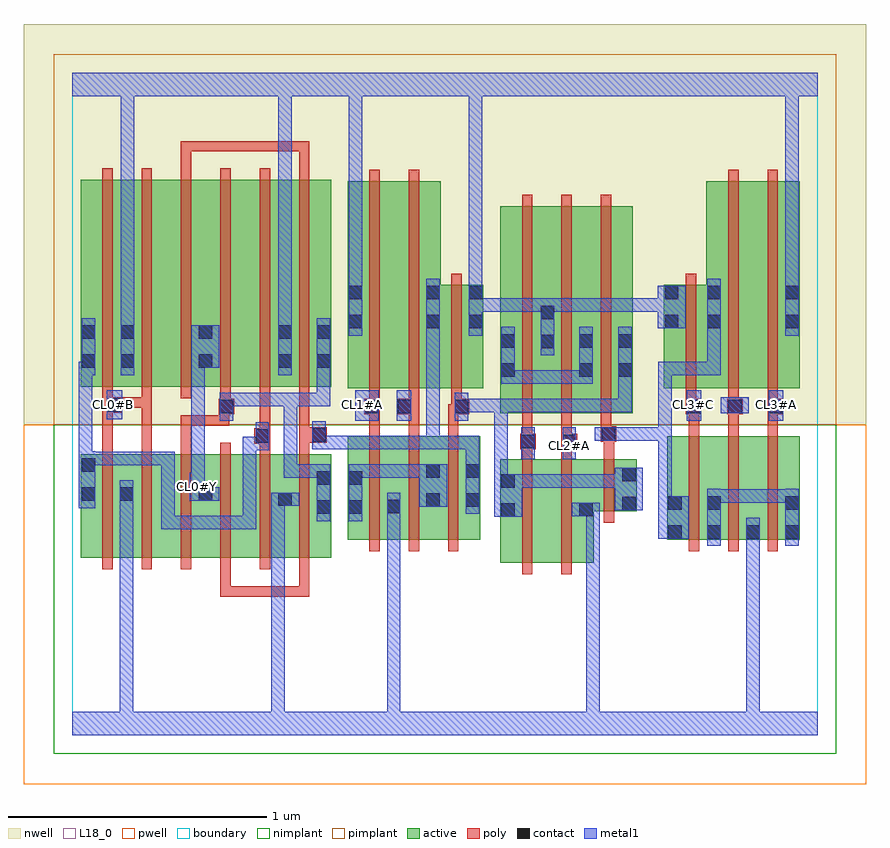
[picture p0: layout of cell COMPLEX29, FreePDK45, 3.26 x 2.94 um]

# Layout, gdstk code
import gdstk
lib = gdstk.Library(unit=1e-6, precision=1e-09)
def R(c, l, rs):  # rectangles x0, y0, x1, y1
    for r in rs: c.add(gdstk.rectangle(r[:2], r[2:], *l))
def A(c, l, x, y, w, h, nx, ny, dx, dy):  # array of equal rectangles
    R(c, l, [(x+i*dx, y+j*dy, x+i*dx+w, y+j*dy+h) for i in range(nx) for j in range(ny)])
active = (1, 0)
pwell = (2, 0)
nwell = (3, 0)
nimplant = (4, 0)
pimplant = (5, 0)
poly = (9, 0)
contact = (10, 0)
metal1 = (11, 0)
L18_0 = (18, 0)
boundary = (235, 0)

complex29 = lib.new_cell('COMPLEX29')
A(complex29, active, 1.212, 0.756, 0.06, 0.4, 3, 1, 0.152, 0)
A(complex29, active, 2.45, 0.756, 0.06, 0.4, 3, 1, 0.15, 0)
R(complex29, active, [(1.654,0.666,1.834,1.066), (1.834,0.666,2.014,1.066), (0.032,0.686,0.092,1.086), (0.032,0.686,0.24,1.086), (0.18,0.686,0.24,1.086), (0.18,0.686,0.364,1.086), (0.364,0.686,0.544,1.086), (0.484,0.686,0.544,1.086), (0.484,0.686,0.668,1.086), (0.668,0.686,0.852,1.086), (0.792,0.686,1,1.086), (0.792,0.686,0.852,0.942), (0.94,0.686,1,1.086), (1.064,0.756,1.124,1.156), (1.064,0.756,1.272,1.156), (1.212,0.756,1.424,1.156), (1.364,0.756,1.576,1.156), (1.654,0.756,1.714,1.066), (2.298,0.756,2.358,1.156), (2.298,0.756,2.51,1.156), (2.45,0.756,2.66,1.156), (2.6,0.756,2.81,1.156), (1.954,0.842,2.014,0.902), (1.954,0.866,2.18,1.066), (2.12,0.866,2.18,1.066), (1.654,1.244,1.714,2.044), (1.654,1.244,1.866,2.044), (1.806,1.244,1.866,2.044), (1.806,1.244,2.014,2.044), (1.954,1.244,2.014,2.044), (1.954,1.244,2.166,2.044), (2.106,1.244,2.166,2.044), (1.064,1.34,1.124,2.044), (1.064,1.34,1.244,2.14), (1.244,1.34,1.424,2.14), (1.364,1.34,1.588,1.74), (1.528,1.34,1.588,1.74), (2.286,1.34,2.346,1.74), (2.286,1.34,2.51,1.74), (2.45,1.34,2.63,2.14), (2.63,1.34,2.81,2.14), (2.75,1.34,2.81,2.044), (0.032,1.346,0.244,2.146), (0.032,1.346,0.092,2.044), (0.184,1.346,0.364,2.146), (0.184,1.346,0.244,2.044), (0.364,1.346,0.544,2.146), (0.484,1.346,0.544,2.044), (0.484,1.346,0.668,2.146), (0.668,1.346,0.852,2.146), (0.792,1.346,1,2.146), (0.792,1.346,0.852,2.044), (0.94,1.346,1,2.044), (2.45,1.416,2.51,2.14), (1.364,1.568,1.424,1.74)])
R(complex29, pwell, [(-0.188,-0.188,3.068,1.2)])
R(complex29, nwell, [(-0.188,1.2,3.068,2.748)])
R(complex29, nimplant, [(-0.072,-0.072,2.952,1.2)])
R(complex29, pimplant, [(-0.072,1.2,2.952,2.632)])
A(complex29, poly, 0.116, 0.642, 0.04, 0.488, 6, 1, 0.152, 0)
A(complex29, poly, 1.148, 0.712, 0.04, 0.488, 3, 1, 0.152, 0)
A(complex29, poly, 2.382, 0.712, 0.04, 0.488, 3, 1, 0.152, 0)
A(complex29, poly, 1.148, 1.16, 0.04, 0.12, 3, 1, 0.152, 0)
A(complex29, poly, 2.382, 1.16, 0.04, 0.12, 3, 1, 0.152, 0)
A(complex29, poly, 1.738, 1.2, 0.04, 0.888, 3, 1, 0.152, 0)
A(complex29, poly, 0.116, 1.302, 0.04, 0.888, 6, 1, 0.152, 0)
R(complex29, poly, [(0.572,0.536,0.612,0.576), (0.572,0.536,0.612,0.682), (0.572,0.536,0.81,0.576), (0.77,0.536,0.81,0.576), (0.77,0.536,0.81,0.576), (0.77,0.536,0.81,0.576), (0.77,0.536,0.916,0.576), (0.876,0.536,0.916,0.576), (0.876,0.536,0.916,0.576), (0.876,0.536,0.916,0.576), (0.876,0.536,0.916,0.682), (1.738,0.622,1.778,1.11), (1.89,0.622,1.93,1.11), (2.054,0.822,2.094,1.11), (1.738,1.07,1.778,1.146), (1.89,1.07,1.93,1.146), (2.054,1.07,2.094,1.174), (0.116,1.09,0.156,1.286), (0.268,1.09,0.308,1.306), (0.42,1.09,0.46,1.236), (0.724,1.09,0.764,1.166), (0.876,1.09,0.916,1.17), (1.73,1.106,1.79,1.166), (1.89,1.106,1.95,1.166), (0.704,1.126,0.764,1.186), (1.738,1.126,1.778,1.166), (1.738,1.126,1.778,1.166), (1.738,1.126,1.778,1.24), (1.89,1.126,1.93,1.166), (1.89,1.126,1.93,1.166), (1.89,1.126,1.93,1.24), (0.876,1.13,0.984,1.19), (2.042,1.134,2.102,1.194), (0.724,1.146,0.764,1.186), (0.724,1.146,0.764,1.186), (0.724,1.146,0.764,1.342), (0.876,1.15,0.916,1.19), (0.876,1.15,0.916,1.19), (0.876,1.15,0.916,1.342), (2.042,1.154,2.082,1.194), (2.042,1.154,2.082,1.194), (2.042,1.154,2.082,1.24), (0.42,1.196,0.46,1.236), (0.42,1.196,0.606,1.236), (0.566,1.196,0.606,1.236), (0.566,1.196,0.606,1.236), (0.566,1.196,0.606,1.236), (0.566,1.196,0.606,1.28), (0.566,1.24,0.626,1.3), (1.128,1.24,1.188,1.3), (1.148,1.24,1.188,1.28), (1.148,1.24,1.188,1.28), (1.254,1.24,1.34,1.3), (1.3,1.24,1.34,1.28), (1.3,1.24,1.34,1.28), (1.452,1.24,1.504,1.28), (1.464,1.24,1.504,1.28), (1.464,1.24,1.534,1.3), (2.37,1.24,2.43,1.3), (2.53,1.24,2.59,1.3), (2.686,1.24,2.726,1.28), (2.686,1.24,2.726,1.28), (2.686,1.24,2.746,1.3), (0.116,1.246,0.19,1.306), (0.572,1.26,0.612,1.342), (1.148,1.26,1.188,1.336), (1.3,1.26,1.34,1.336), (1.464,1.26,1.504,1.336), (2.37,1.26,2.41,1.336), (2.37,1.26,2.41,1.3), (2.37,1.26,2.41,1.3), (2.534,1.26,2.574,1.336), (2.534,1.26,2.574,1.3), (2.534,1.26,2.574,1.3), (2.686,1.26,2.726,1.336), (0.116,1.266,0.156,1.342), (0.116,1.266,0.156,1.306), (0.116,1.266,0.156,1.306), (0.116,1.266,0.308,1.306), (0.268,1.266,0.308,1.342), (0.268,1.266,0.308,1.306), (0.268,1.266,0.308,1.306), (0.268,1.266,0.308,1.306), (0.268,1.266,0.308,1.306), (0.268,1.266,0.308,1.306), (1.148,1.296,1.188,2.184), (1.3,1.296,1.34,2.184), (1.464,1.296,1.504,1.784), (2.37,1.296,2.41,1.784), (2.534,1.296,2.574,2.184), (2.686,1.296,2.726,2.184), (0.42,2.15,0.46,2.296), (0.876,2.15,0.916,2.296), (0.42,2.256,0.46,2.296), (0.42,2.256,0.46,2.296), (0.42,2.256,0.46,2.296), (0.42,2.256,0.566,2.296), (0.526,2.256,0.566,2.296), (0.526,2.256,0.718,2.296), (0.678,2.256,0.718,2.296), (0.678,2.256,0.718,2.296), (0.678,2.256,0.718,2.296), (0.678,2.256,0.916,2.296), (0.876,2.256,0.916,2.296), (0.876,2.256,0.916,2.296), (0.876,2.256,0.916,2.296)])
A(complex29, contact, 2.454, 0.76, 0.052, 0.052, 3, 1, 0.15, 0)
R(complex29, contact, [(2.302,0.76,2.354,0.812), (1.658,0.844,1.71,0.896), (1.958,0.846,2.01,0.898), (0.944,0.856,0.996,0.908), (1.068,0.856,1.12,0.908), (1.216,0.858,1.268,0.91), (2.124,0.87,2.176,0.922), (2.302,0.872,2.354,0.924), (2.454,0.872,2.506,0.924), (2.754,0.872,2.806,0.924), (1.368,0.884,1.42,0.936), (1.52,0.884,1.572,0.936), (0.796,0.886,0.848,0.938), (0.036,0.906,0.088,0.958), (0.184,0.906,0.236,0.958), (0.488,0.906,0.54,0.958), (1.658,0.956,1.71,1.008), (0.944,0.968,0.996,1.02), (1.068,0.968,1.12,1.02), (2.124,0.982,2.176,1.034), (1.368,0.996,1.42,1.048), (1.52,0.996,1.572,1.048), (0.036,1.018,0.088,1.07), (1.734,1.11,1.786,1.162), (1.894,1.11,1.946,1.162), (0.708,1.13,0.76,1.182), (0.928,1.134,0.98,1.186), (2.046,1.138,2.098,1.19), (0.57,1.244,0.622,1.296), (1.132,1.244,1.184,1.296), (1.258,1.244,1.31,1.296), (1.478,1.244,1.53,1.296), (2.374,1.244,2.426,1.296), (2.534,1.244,2.586,1.296), (2.69,1.244,2.742,1.296), (0.134,1.25,0.186,1.302), (1.658,1.386,1.71,1.438), (1.958,1.386,2.01,1.438), (2.11,1.386,2.162,1.438), (0.036,1.42,0.088,1.472), (0.188,1.42,0.24,1.472), (0.488,1.42,0.54,1.472), (0.796,1.42,0.848,1.472), (0.944,1.42,0.996,1.472), (1.81,1.496,1.862,1.548), (1.658,1.498,1.71,1.55), (1.958,1.498,2.01,1.55), (2.11,1.498,2.162,1.55), (0.036,1.532,0.088,1.584), (0.188,1.532,0.24,1.584), (0.488,1.532,0.54,1.584), (0.796,1.532,0.848,1.584), (0.944,1.532,0.996,1.584), (1.068,1.572,1.12,1.624), (1.368,1.572,1.42,1.624), (1.532,1.572,1.584,1.624), (2.29,1.572,2.342,1.624), (2.454,1.572,2.506,1.624), (2.754,1.572,2.806,1.624), (1.81,1.608,1.862,1.66), (1.068,1.684,1.12,1.736), (1.368,1.684,1.42,1.736), (1.532,1.684,1.584,1.736), (2.29,1.684,2.342,1.736), (2.454,1.684,2.506,1.736), (2.754,1.684,2.806,1.736)])
R(complex29, metal1, [(0,0,2.88,0.092), (0.184,0.04,0.236,0.092), (0.184,0.04,0.236,0.092), (0.184,0.04,0.236,0.092), (0.184,0.04,0.236,0.092), (0.184,0.04,0.236,0.092), (0.184,0.04,0.236,0.092), (0.184,0.04,0.236,0.092), (0.184,0.04,0.236,0.092), (0.184,0.04,0.236,0.092), (0.184,0.04,0.236,0.092), (0.184,0.04,0.236,0.93), (0.768,0.04,0.82,0.092), (0.768,0.04,0.82,0.092), (0.768,0.04,0.82,0.092), (0.768,0.04,0.82,0.092), (0.768,0.04,0.82,0.092), (0.768,0.04,0.82,0.092), (0.768,0.04,0.82,0.092), (0.768,0.04,0.82,0.092), (0.768,0.04,0.82,0.938), (1.216,0.04,1.268,0.092), (1.216,0.04,1.268,0.092), (1.216,0.04,1.268,0.092), (1.216,0.04,1.268,0.092), (1.216,0.04,1.268,0.092), (1.216,0.04,1.268,0.092), (1.216,0.04,1.268,0.092), (1.216,0.04,1.268,0.092), (1.216,0.04,1.268,0.092), (1.216,0.04,1.268,0.092), (1.216,0.04,1.268,0.092), (1.216,0.04,1.268,0.092), (1.216,0.04,1.268,0.882), (1.986,0.04,2.038,0.092), (1.986,0.04,2.038,0.092), (1.986,0.04,2.038,0.092), (1.986,0.04,2.038,0.092), (1.986,0.04,2.038,0.092), (1.986,0.04,2.038,0.092), (1.986,0.04,2.038,0.092), (1.986,0.04,2.038,0.092), (1.986,0.04,2.038,0.092), (1.986,0.04,2.038,0.092), (1.986,0.04,2.038,0.898), (2.604,0.04,2.656,0.092), (2.604,0.04,2.656,0.092), (2.604,0.04,2.656,0.092), (2.604,0.04,2.656,0.092), (2.604,0.04,2.656,0.092), (2.604,0.04,2.656,0.092), (2.604,0.04,2.656,0.092), (2.604,0.04,2.656,0.092), (2.604,0.04,2.656,0.092), (2.604,0.04,2.656,0.092), (2.604,0.04,2.656,0.784), (2.454,0.732,2.506,0.952), (2.604,0.732,2.656,0.784), (2.604,0.732,2.656,0.784), (2.604,0.732,2.656,0.84), (2.754,0.732,2.806,0.952), (2.264,0.76,2.316,0.812), (2.264,0.76,2.316,0.812), (2.264,0.76,2.316,0.812), (2.264,0.76,2.316,0.812), (2.264,0.76,2.382,0.924), (0.344,0.796,0.396,0.848), (0.344,0.796,0.512,0.848), (0.344,0.796,0.396,1.096), (0.46,0.796,0.512,0.848), (0.46,0.796,0.512,0.848), (0.46,0.796,0.512,0.848), (0.46,0.796,0.622,0.848), (0.57,0.796,0.622,0.848), (0.57,0.796,0.71,0.848), (0.658,0.796,0.71,0.848), (0.658,0.796,0.71,1.154), (0.944,0.828,0.996,1.048), (1.068,0.828,1.12,1.048), (1.216,0.83,1.268,0.938), (1.63,0.844,1.738,1.008), (1.93,0.846,2.038,0.898), (1.986,0.846,2.038,0.898), (1.986,0.846,2.038,0.898), (1.52,0.856,1.572,1.076), (2.096,0.87,2.204,1.034), (2.264,0.872,2.316,1.19), (0.026,0.878,0.088,1.098), (0.184,0.878,0.236,0.93), (0.184,0.878,0.236,0.93), (0.184,0.878,0.236,0.986), (1.34,0.884,1.448,1.048), (0.768,0.886,0.82,0.938), (0.768,0.886,0.82,0.938), (0.768,0.886,0.82,0.938), (0.768,0.886,0.82,0.938), (0.768,0.886,0.876,0.938), (2.454,0.898,2.632,0.95), (2.58,0.898,2.632,0.95), (2.58,0.898,2.632,0.95), (2.58,0.898,2.632,0.95), (2.58,0.898,2.806,0.95), (2.754,0.898,2.806,0.95), (2.754,0.898,2.806,0.95), (0.454,0.906,0.512,1.014), (0.46,0.906,0.512,0.958), (0.46,0.906,0.568,0.958), (1.63,0.956,1.682,1.3), (1.686,0.956,1.738,1.008), (1.686,0.956,1.738,1.008), (1.686,0.956,1.866,1.008), (1.814,0.956,1.866,1.008), (1.814,0.956,1.866,1.008), (1.814,0.956,1.866,1.008), (1.814,0.956,1.976,1.008), (1.924,0.956,1.976,1.008), (1.924,0.956,2.148,1.008), (2.096,0.956,2.148,1.008), (2.096,0.956,2.148,1.008), (0.46,0.962,0.512,1.472), (0.818,0.996,0.87,1.048), (0.818,0.996,0.87,1.048), (0.818,0.996,0.87,1.048), (0.818,0.996,0.996,1.048), (0.818,0.996,0.87,1.324), (1.068,0.996,1.12,1.048), (1.068,0.996,1.12,1.048), (1.068,0.996,1.23,1.048), (1.178,0.996,1.23,1.048), (1.178,0.996,1.23,1.048), (1.178,0.996,1.23,1.048), (1.178,0.996,1.392,1.048), (1.52,1.024,1.572,1.158), (0.036,1.044,0.088,1.096), (0.036,1.044,0.088,1.096), (0.036,1.044,0.286,1.096), (0.234,1.044,0.286,1.096), (0.234,1.044,0.286,1.096), (0.234,1.044,0.286,1.096), (0.234,1.044,0.396,1.096), (0.344,1.044,0.396,1.096), (0.026,1.046,0.078,1.444), (1.734,1.066,1.786,1.19), (1.894,1.066,1.946,1.19), (0.658,1.102,0.71,1.154), (0.658,1.102,0.71,1.154), (0.658,1.102,0.71,1.154), (0.658,1.102,0.76,1.154), (0.708,1.102,0.76,1.21), (0.928,1.106,0.98,1.158), (0.928,1.106,0.98,1.158), (0.928,1.106,0.98,1.214), (0.928,1.106,1.106,1.158), (1.054,1.106,1.106,1.158), (1.054,1.106,1.106,1.158), (1.054,1.106,1.106,1.158), (1.054,1.106,1.282,1.158), (1.23,1.106,1.282,1.158), (1.23,1.106,1.42,1.158), (1.368,1.106,1.42,1.158), (1.368,1.106,1.42,1.158), (1.368,1.106,1.42,1.158), (1.368,1.106,1.42,1.158), (1.368,1.106,1.42,1.158), (1.368,1.106,1.572,1.158), (1.368,1.106,1.42,1.596), (1.52,1.106,1.572,1.158), (1.52,1.106,1.572,1.158), (1.52,1.106,1.572,1.158), (2.018,1.138,2.126,1.19), (2.074,1.138,2.316,1.19), (2.264,1.138,2.316,1.19), (2.264,1.138,2.316,1.19), (2.264,1.138,2.316,1.19), (2.264,1.138,2.316,1.444), (0.57,1.216,0.622,1.324), (1.094,1.216,1.184,1.334), (1.254,1.216,1.31,1.334), (1.478,1.216,1.53,1.324), (2.374,1.216,2.43,1.334), (2.69,1.216,2.746,1.334), (0.134,1.222,0.194,1.334), (2.506,1.244,2.614,1.306), (1.478,1.248,1.53,1.3), (1.478,1.248,1.53,1.3), (1.478,1.248,1.682,1.3), (1.63,1.248,1.682,1.3), (1.63,1.248,1.682,1.3), (1.63,1.248,1.682,1.3), (1.63,1.248,1.694,1.3), (1.642,1.248,1.694,1.3), (1.642,1.248,1.848,1.3), (1.796,1.248,1.848,1.3), (1.796,1.248,1.928,1.3), (1.876,1.248,1.928,1.3), (1.876,1.248,1.976,1.3), (1.924,1.248,1.976,1.3), (1.924,1.248,2.162,1.3), (2.11,1.248,2.162,1.3), (2.11,1.248,2.162,1.3), (2.11,1.248,2.162,1.3), (2.11,1.248,2.162,1.41), (0.57,1.272,0.622,1.324), (0.57,1.272,0.622,1.324), (0.57,1.272,0.76,1.324), (0.708,1.272,0.76,1.324), (0.708,1.272,0.87,1.324), (0.818,1.272,0.87,1.324), (0.818,1.272,0.87,1.324), (0.818,1.272,0.87,1.324), (0.818,1.272,0.996,1.324), (0.944,1.272,0.996,1.324), (0.944,1.272,0.996,1.324), (0.944,1.272,0.996,1.324), (0.944,1.272,0.996,1.444), (1.658,1.358,1.71,1.41), (1.658,1.358,1.71,1.41), (1.658,1.358,1.71,1.578), (1.658,1.358,1.848,1.41), (1.796,1.358,1.848,1.41), (1.796,1.358,1.928,1.41), (1.876,1.358,1.928,1.41), (1.876,1.358,2.01,1.41), (1.958,1.358,2.01,1.578), (2.11,1.358,2.162,1.578), (0.026,1.392,0.078,1.444), (0.026,1.392,0.078,1.444), (0.026,1.392,0.088,1.444), (0.036,1.392,0.088,1.444), (0.036,1.392,0.088,1.612), (0.188,1.392,0.24,1.612), (0.796,1.392,0.848,1.612), (0.944,1.392,0.996,1.612), (2.264,1.392,2.316,1.444), (2.264,1.392,2.448,1.444), (2.396,1.392,2.448,1.444), (2.396,1.392,2.506,1.444), (2.454,1.392,2.506,1.444), (2.454,1.392,2.506,1.596), (0.46,1.42,0.512,1.472), (0.46,1.42,0.512,1.472), (0.46,1.42,0.568,1.584), (1.81,1.468,1.862,1.688), (1.068,1.544,1.12,1.764), (1.368,1.544,1.42,1.764), (1.532,1.544,1.584,1.764), (2.454,1.544,2.506,1.764), (2.754,1.544,2.806,1.764), (0.188,1.56,0.24,2.52), (0.796,1.56,0.848,1.612), (0.796,1.56,0.848,1.612), (0.796,1.56,0.848,2.52), (2.262,1.572,2.37,1.736), (1.532,1.636,1.694,1.688), (1.642,1.636,1.694,1.688), (1.642,1.636,1.694,1.688), (1.642,1.636,1.694,1.688), (1.642,1.636,1.862,1.688), (1.81,1.636,1.862,1.688), (1.81,1.636,1.862,1.688), (1.81,1.636,2.038,1.688), (1.986,1.636,2.038,1.688), (1.986,1.636,2.038,1.688), (1.986,1.636,2.038,1.688), (1.986,1.636,2.148,1.688), (2.096,1.636,2.148,1.688), (2.096,1.636,2.314,1.688), (1.068,1.712,1.12,1.764), (1.068,1.712,1.12,1.764), (1.068,1.712,1.12,1.764), (1.068,1.712,1.12,1.764), (1.068,1.712,1.12,1.764), (1.068,1.712,1.12,1.764), (1.068,1.712,1.12,2.52), (1.532,1.712,1.584,1.764), (1.532,1.712,1.584,1.764), (1.532,1.712,1.584,1.764), (1.532,1.712,1.584,1.764), (1.532,1.712,1.584,1.764), (1.532,1.712,1.584,1.764), (1.532,1.712,1.584,1.764), (1.532,1.712,1.584,1.764), (1.532,1.712,1.584,1.764), (1.532,1.712,1.584,1.764), (1.532,1.712,1.584,1.764), (1.532,1.712,1.584,1.764), (1.532,1.712,1.584,2.52), (2.754,1.712,2.806,2.52), (0,2.468,2.88,2.56), (0.188,2.468,0.24,2.52), (0.188,2.468,0.24,2.52), (0.188,2.468,0.24,2.52), (0.188,2.468,0.24,2.52), (0.188,2.468,0.24,2.52), (0.188,2.468,0.24,2.52), (0.188,2.468,0.24,2.52), (0.188,2.468,0.24,2.52), (0.796,2.468,0.848,2.52), (0.796,2.468,0.848,2.52), (0.796,2.468,0.848,2.52), (0.796,2.468,0.848,2.52), (0.796,2.468,0.848,2.52), (0.796,2.468,0.848,2.52), (1.068,2.468,1.12,2.52), (1.068,2.468,1.12,2.52), (1.532,2.468,1.584,2.52), (1.532,2.468,1.584,2.52), (1.532,2.468,1.584,2.52), (1.532,2.468,1.584,2.52), (2.754,2.468,2.806,2.52), (2.754,2.468,2.806,2.52), (2.754,2.468,2.806,2.52), (2.754,2.468,2.806,2.52), (2.754,2.468,2.806,2.52), (2.754,2.468,2.806,2.52), (2.754,2.468,2.806,2.52), (2.754,2.468,2.806,2.52)])
A(complex29, L18_0, 2.374, 1.254, 0.052, 0.052, 3, 1, 0.16, 0)
R(complex29, L18_0, [(0,0,2.88,0.092), (0.184,0.04,0.236,0.092), (0.184,0.04,0.236,0.092), (0.184,0.04,0.236,0.092), (0.184,0.04,0.236,0.092), (0.184,0.04,0.236,0.092), (0.184,0.04,0.236,0.092), (0.184,0.04,0.236,0.092), (0.184,0.04,0.236,0.092), (0.184,0.04,0.236,0.092), (0.184,0.04,0.236,0.092), (0.184,0.04,0.236,0.93), (0.768,0.04,0.82,0.092), (0.768,0.04,0.82,0.092), (0.768,0.04,0.82,0.092), (0.768,0.04,0.82,0.092), (0.768,0.04,0.82,0.092), (0.768,0.04,0.82,0.092), (0.768,0.04,0.82,0.092), (0.768,0.04,0.82,0.092), (0.768,0.04,0.82,0.938), (1.216,0.04,1.268,0.092), (1.216,0.04,1.268,0.092), (1.216,0.04,1.268,0.092), (1.216,0.04,1.268,0.092), (1.216,0.04,1.268,0.092), (1.216,0.04,1.268,0.092), (1.216,0.04,1.268,0.092), (1.216,0.04,1.268,0.092), (1.216,0.04,1.268,0.092), (1.216,0.04,1.268,0.092), (1.216,0.04,1.268,0.092), (1.216,0.04,1.268,0.092), (1.216,0.04,1.268,0.882), (1.986,0.04,2.038,0.092), (1.986,0.04,2.038,0.092), (1.986,0.04,2.038,0.092), (1.986,0.04,2.038,0.092), (1.986,0.04,2.038,0.092), (1.986,0.04,2.038,0.092), (1.986,0.04,2.038,0.092), (1.986,0.04,2.038,0.092), (1.986,0.04,2.038,0.092), (1.986,0.04,2.038,0.092), (1.986,0.04,2.038,0.898), (2.604,0.04,2.656,0.092), (2.604,0.04,2.656,0.092), (2.604,0.04,2.656,0.092), (2.604,0.04,2.656,0.092), (2.604,0.04,2.656,0.092), (2.604,0.04,2.656,0.092), (2.604,0.04,2.656,0.092), (2.604,0.04,2.656,0.092), (2.604,0.04,2.656,0.092), (2.604,0.04,2.656,0.092), (2.604,0.04,2.656,0.784), (2.604,0.732,2.656,0.784), (2.604,0.732,2.656,0.784), (2.604,0.732,2.656,0.84), (1.216,0.83,1.268,0.938), (1.93,0.846,2.038,0.898), (1.986,0.846,2.038,0.898), (1.986,0.846,2.038,0.898), (0.184,0.878,0.236,0.93), (0.184,0.878,0.236,0.93), (0.184,0.878,0.236,0.986), (0.768,0.886,0.82,0.938), (0.768,0.886,0.82,0.938), (0.768,0.886,0.82,0.938), (0.768,0.886,0.82,0.938), (0.768,0.886,0.876,0.938), (0.454,0.906,0.512,1.014), (0.46,0.906,0.512,0.958), (0.46,0.906,0.568,0.958), (0.454,0.934,0.506,0.986), (0.46,0.962,0.512,1.472), (1.734,1.066,1.786,1.19), (1.894,1.066,1.946,1.19), (1.734,1.094,1.786,1.146), (1.894,1.094,1.946,1.146), (1.094,1.216,1.184,1.334), (1.254,1.216,1.31,1.334), (2.374,1.216,2.43,1.334), (2.69,1.216,2.746,1.334), (0.134,1.222,0.194,1.334), (2.506,1.244,2.614,1.306), (0.134,1.254,0.186,1.306), (1.094,1.254,1.146,1.306), (1.254,1.254,1.306,1.306), (0.188,1.392,0.24,1.612), (0.796,1.392,0.848,1.612), (0.46,1.42,0.512,1.472), (0.46,1.42,0.512,1.472), (0.46,1.42,0.568,1.584), (1.81,1.468,1.862,1.688), (1.068,1.544,1.12,1.764), (1.532,1.544,1.584,1.764), (2.754,1.544,2.806,1.764), (0.188,1.56,0.24,2.52), (0.796,1.56,0.848,1.612), (0.796,1.56,0.848,1.612), (0.796,1.56,0.848,2.52), (2.262,1.572,2.37,1.736), (1.532,1.636,1.694,1.688), (1.642,1.636,1.694,1.688), (1.642,1.636,1.694,1.688), (1.642,1.636,1.694,1.688), (1.642,1.636,1.862,1.688), (1.81,1.636,1.862,1.688), (1.81,1.636,1.862,1.688), (1.81,1.636,2.038,1.688), (1.986,1.636,2.038,1.688), (1.986,1.636,2.038,1.688), (1.986,1.636,2.038,1.688), (1.986,1.636,2.148,1.688), (2.096,1.636,2.148,1.688), (2.096,1.636,2.314,1.688), (1.068,1.712,1.12,1.764), (1.068,1.712,1.12,1.764), (1.068,1.712,1.12,1.764), (1.068,1.712,1.12,1.764), (1.068,1.712,1.12,1.764), (1.068,1.712,1.12,1.764), (1.068,1.712,1.12,2.52), (1.532,1.712,1.584,1.764), (1.532,1.712,1.584,1.764), (1.532,1.712,1.584,1.764), (1.532,1.712,1.584,1.764), (1.532,1.712,1.584,1.764), (1.532,1.712,1.584,1.764), (1.532,1.712,1.584,1.764), (1.532,1.712,1.584,1.764), (1.532,1.712,1.584,1.764), (1.532,1.712,1.584,1.764), (1.532,1.712,1.584,1.764), (1.532,1.712,1.584,1.764), (1.532,1.712,1.584,2.52), (2.754,1.712,2.806,2.52), (0,2.468,2.88,2.56), (0.188,2.468,0.24,2.52), (0.188,2.468,0.24,2.52), (0.188,2.468,0.24,2.52), (0.188,2.468,0.24,2.52), (0.188,2.468,0.24,2.52), (0.188,2.468,0.24,2.52), (0.188,2.468,0.24,2.52), (0.188,2.468,0.24,2.52), (0.796,2.468,0.848,2.52), (0.796,2.468,0.848,2.52), (0.796,2.468,0.848,2.52), (0.796,2.468,0.848,2.52), (0.796,2.468,0.848,2.52), (0.796,2.468,0.848,2.52), (1.068,2.468,1.12,2.52), (1.068,2.468,1.12,2.52), (1.532,2.468,1.584,2.52), (1.532,2.468,1.584,2.52), (1.532,2.468,1.584,2.52), (1.532,2.468,1.584,2.52), (2.754,2.468,2.806,2.52), (2.754,2.468,2.806,2.52), (2.754,2.468,2.806,2.52), (2.754,2.468,2.806,2.52), (2.754,2.468,2.806,2.52), (2.754,2.468,2.806,2.52), (2.754,2.468,2.806,2.52), (2.754,2.468,2.806,2.52)])
R(complex29, boundary, [(0,0,2.88,2.56)])
complex29.add(gdstk.Label('CL0#B', (0.16,1.28), layer=11, texttype=0))
complex29.add(gdstk.Label('CL0#Y', (0.48,0.96), layer=11, texttype=0))
complex29.add(gdstk.Label('CL1#A', (1.12,1.28), layer=11, texttype=0))
complex29.add(gdstk.Label('CL1#B', (1.28,1.28), layer=11, texttype=0))
complex29.add(gdstk.Label('CL2#A', (1.92,1.12), layer=11, texttype=0))
complex29.add(gdstk.Label('CL2#B', (1.76,1.12), layer=11, texttype=0))
complex29.add(gdstk.Label('CL3#A', (2.72,1.28), layer=11, texttype=0))
complex29.add(gdstk.Label('CL3#B', (2.56,1.28), layer=11, texttype=0))
complex29.add(gdstk.Label('CL3#C', (2.4,1.28), layer=11, texttype=0))

lib.write_gds('COMPLEX29.gds')
